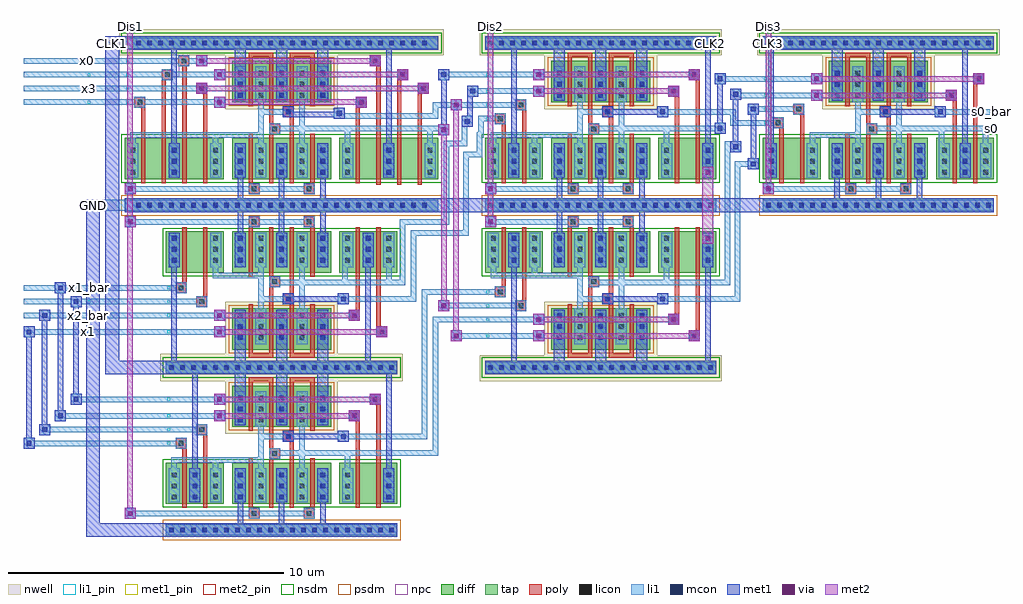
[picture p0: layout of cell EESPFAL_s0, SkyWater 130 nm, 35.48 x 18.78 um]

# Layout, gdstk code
import gdstk
lib = gdstk.Library(unit=1e-6, precision=5e-09)
def R(c, l, rs):  # rectangles x0, y0, x1, y1
    for r in rs: c.add(gdstk.rectangle(r[:2], r[2:], *l))
def A(c, l, x, y, w, h, nx, ny, dx, dy):  # array of equal rectangles
    R(c, l, [(x+i*dx, y+j*dy, x+i*dx+w, y+j*dy+h) for i in range(nx) for j in range(ny)])
def P(c, l, *ps):  # polygons
    for p in ps: c.add(gdstk.Polygon(p, *l))
nwell = (64, 20)
diff = (65, 20)
tap = (65, 44)
poly = (66, 20)
licon = (66, 44)
li1_pin = (67, 16)
li1 = (67, 20)
mcon = (67, 44)
met1_pin = (68, 16)
met1 = (68, 20)
via = (68, 44)
met2_pin = (69, 16)
met2 = (69, 20)
nsdm = (93, 44)
psdm = (94, 20)
npc = (95, 20)

eespfal_nor_v3 = lib.new_cell('EESPFAL_NOR_v3')
R(eespfal_nor_v3, nwell, [(-7.7,5.3,-3.6,7.25), (-10.05,7.25,-1.25,8.2)])
R(eespfal_nor_v3, diff, [(-9.85,2.75,-7.75,4.25), (-7.45,2.75,-3.85,4.25), (-3.55,2.75,-1.45,4.25), (-7.45,5.55,-3.85,7.05)])
R(eespfal_nor_v3, tap, [(-9.85,1.55,-1.45,2.05), (-9.85,7.45,-1.45,7.95)])
R(eespfal_nor_v3, poly, [(-6.85,2.2,-6.45,2.6), (-4.85,2.2,-4.45,2.6), (-9.25,2.6,-9.1,4.6), (-8.5,2.6,-8.35,5.1), (-6.85,2.6,-6.7,4.4), (-6.1,2.6,-5.95,4.4), (-5.35,2.6,-5.2,5), (-4.6,2.6,-4.45,4.4), (-2.95,2.6,-2.8,5.6), (-2.2,2.6,-2.05,6.2), (-6.1,4.375,-5.7,4.775), (-9.5,4.6,-9.1,5), (-6.1,4.775,-5.95,7.2), (-5.6,5,-5.2,5.4), (-8.75,5.1,-8.35,5.5), (-6.85,5.4,-6.7,7.2), (-5.35,5.4,-5.2,7.2), (-4.6,5.4,-4.45,7.2), (-3.2,5.6,-2.8,6), (-2.2,6.2,-1.8,6.6), (-6.85,7.2,-5.95,7.35), (-5.35,7.2,-4.45,7.35)])
A(eespfal_nor_v3, licon, -9.735, 1.715, 0.17, 0.17, 21, 2, 0.4, 5.9)
A(eespfal_nor_v3, licon, -9.635, 2.915, 0.17, 0.17, 1, 3, 0, 0.4)
A(eespfal_nor_v3, licon, -8.135, 2.915, 0.17, 0.17, 1, 3, 0, 0.4)
A(eespfal_nor_v3, licon, -7.235, 2.915, 0.17, 0.17, 5, 3, 0.75, 0.4)
A(eespfal_nor_v3, licon, -3.335, 2.915, 0.17, 0.17, 3, 3, 0.75, 0.4)
A(eespfal_nor_v3, licon, -7.235, 5.715, 0.17, 0.17, 5, 3, 0.75, 0.4)
R(eespfal_nor_v3, licon, [(-6.735,2.315,-6.565,2.485), (-4.735,2.315,-4.565,2.485), (-5.985,4.49,-5.815,4.66), (-9.385,4.715,-9.215,4.885), (-5.485,5.115,-5.315,5.285), (-8.635,5.215,-8.465,5.385), (-3.085,5.715,-2.915,5.885), (-2.085,6.315,-1.915,6.485)])
A(eespfal_nor_v3, li1_pin, -9.8, 4.75, 0.1, 0.1, 1, 3, 0, 0.5)
R(eespfal_nor_v3, li1_pin, [(-6.75,2.3,-6.55,2.5), (-6,4.475,-5.8,4.675), (-9.8,6.35,-9.7,6.45)])
A(eespfal_nor_v3, li1, -7.35, 2.8, 0.4, 1.25, 5, 1, 0.75, 0)
A(eespfal_nor_v3, li1, -3.45, 2.8, 0.4, 1.25, 3, 1, 0.75, 0)
A(eespfal_nor_v3, li1, -8.1, 5.6, 0.4, 0.1, 1, 4, 0, 0.3)
A(eespfal_nor_v3, li1, -7.35, 5.6, 0.4, 1.25, 3, 1, 1.5, 0)
R(eespfal_nor_v3, li1, [(-9.85,1.6,-1.45,2), (-6.85,2.2,-6.45,2.3), (-4.85,2.2,-4.45,2.3), (-9.85,2.3,-4.45,2.5), (-6.85,2.5,-6.45,2.6), (-4.85,2.5,-4.45,2.6), (-9.75,2.8,-9.35,4.05), (-8.25,2.8,-7.85,4.05), (-3.45,4.05,-3.25,4.5), (-1.85,4.05,-1.65,4.5), (-6.1,4.375,-5.7,4.775), (-9.5,4.6,-9.1,4.7), (-9.85,4.7,-9.1,4.9), (-9.5,4.9,-9.1,5), (-5.6,5,-5.2,5.1), (-3.6,5,-3.2,5.1), (-8.75,5.1,-8.35,5.2), (-3.6,5.1,-1.45,5.3), (-9.85,5.2,-8.35,5.4), (-5.6,5.3,-5.2,5.4), (-3.6,5.3,-3.2,5.4), (-8.75,5.4,-8.35,5.5), (-6.6,5.55,-6.2,6.85), (-5.1,5.55,-4.7,6.85), (-3.2,5.6,-2.8,6), (-9.85,5.7,-7.7,5.9), (-2.2,6.2,-1.8,6.6), (-9.85,6.3,-7.7,6.5), (-9.85,7.5,-1.45,7.9)])
P(eespfal_nor_v3, li1, [(-5,4.05),(-5,4.5),(-5.7,4.5),(-5.7,4.7),(-5,4.7),(-5,5.55),(-4.8,5.55),(-4.8,4.7),(-1.45,4.7),(-1.45,4.5),(-4.8,4.5),(-4.8,4.05)],
  [(-8.15,4.05),(-8.15,4.45),(-6.5,4.45),(-6.5,5.55),(-6.3,5.55),(-6.3,5.3),(-5.2,5.3),(-5.2,5.1),(-6.3,5.1),(-6.3,4.05),(-6.5,4.05),(-6.5,4.25),(-7.95,4.25),(-7.95,4.05)])
A(eespfal_nor_v3, mcon, -9.735, 1.715, 0.17, 0.17, 21, 2, 0.4, 5.9)
A(eespfal_nor_v3, mcon, -9.635, 2.915, 0.17, 0.17, 1, 3, 0, 0.4)
A(eespfal_nor_v3, mcon, -7.235, 2.915, 0.17, 0.17, 3, 3, 1.5, 0.4)
A(eespfal_nor_v3, mcon, -2.585, 2.915, 0.17, 0.17, 1, 3, 0, 0.4)
A(eespfal_nor_v3, mcon, -7.235, 5.715, 0.17, 0.17, 3, 3, 1.5, 0.4)
R(eespfal_nor_v3, mcon, [(-5.485,5.115,-5.315,5.285), (-3.485,5.115,-3.315,5.285), (-7.985,5.715,-7.815,5.885), (-3.085,5.715,-2.915,5.885), (-7.985,6.315,-7.815,6.485), (-2.085,6.315,-1.915,6.485)])
R(eespfal_nor_v3, met1_pin, [(-5.75,1.7,-5.55,1.9), (-5.5,5.1,-5.3,5.3), (-5.75,7.6,-5.55,7.8)])
A(eespfal_nor_v3, met1, -7.25, 2.05, 0.2, 0.75, 3, 1, 1.5, 0)
A(eespfal_nor_v3, met1, -7.35, 2.8, 0.4, 1.25, 3, 1, 1.5, 0)
A(eespfal_nor_v3, met1, -7.35, 5.6, 0.4, 1.85, 3, 1, 1.5, 0)
R(eespfal_nor_v3, met1, [(-9.85,1.55,-1.45,2.05), (-9.75,2.8,-9.35,4.05), (-2.7,2.8,-2.3,4.05), (-9.65,4.05,-9.45,7.45), (-2.6,4.05,-2.4,7.45), (-5.6,5,-5.2,5.1), (-3.6,5,-3.2,5.1), (-5.6,5.1,-3.2,5.3), (-5.6,5.3,-5.2,5.4), (-3.6,5.3,-3.2,5.4), (-8.1,5.6,-7.7,6), (-3.2,5.6,-2.8,6), (-8.1,6.2,-7.7,6.6), (-2.2,6.2,-1.8,6.6), (-9.85,7.45,-1.45,7.95)])
R(eespfal_nor_v3, via, [(-7.975,5.725,-7.825,5.875), (-3.075,5.725,-2.925,5.875), (-7.975,6.325,-7.825,6.475), (-2.075,6.325,-1.925,6.475)])
A(eespfal_nor_v3, met2, -8.1, 5.6, 0.4, 0.1, 1, 4, 0, 0.3)
R(eespfal_nor_v3, met2, [(-3.2,5.6,-2.8,5.7), (-8.1,5.7,-2.8,5.9), (-3.2,5.9,-2.8,6), (-2.2,6.2,-1.8,6.3), (-8.1,6.3,-1.8,6.5), (-2.2,6.5,-1.8,6.6)])
R(eespfal_nor_v3, nsdm, [(-9.975,2.625,-1.325,4.375), (-9.975,7.325,-1.325,8.075)])
R(eespfal_nor_v3, psdm, [(-9.975,1.425,-1.325,2.175), (-7.575,5.425,-3.725,7.175)])
R(eespfal_nor_v3, npc, [(-6.835,2.215,-6.465,2.585), (-4.835,2.215,-4.465,2.585), (-6.085,4.39,-5.715,4.76), (-9.485,4.615,-9.115,4.985), (-5.585,5.015,-5.215,5.385), (-8.735,5.115,-8.365,5.485), (-3.185,5.615,-2.815,5.985), (-2.185,6.215,-1.815,6.585)])
eespfal_nor_v3.add(gdstk.Label('OUT', (-5.9,4.575), layer=67, texttype=16))
eespfal_nor_v3.add(gdstk.Label('A', (-9.75,6.4), layer=67, texttype=16))
eespfal_nor_v3.add(gdstk.Label('A_bar', (-9.75,4.8), layer=67, texttype=16))
eespfal_nor_v3.add(gdstk.Label('B', (-9.75,5.8), layer=67, texttype=16))
eespfal_nor_v3.add(gdstk.Label('B_bar', (-9.75,5.3), layer=67, texttype=16))
eespfal_nor_v3.add(gdstk.Label('Dis', (-6.65,2.4), layer=67, texttype=16))
eespfal_nor_v3.add(gdstk.Label('OUT_bar', (-5.4,5.2), layer=68, texttype=16))
eespfal_nor_v3.add(gdstk.Label('GND!', (-5.65,1.8), layer=68, texttype=16))
eespfal_nor_v3.add(gdstk.Label('CLK', (-5.65,7.7), layer=68, texttype=16))

eespfal_nand_v3 = lib.new_cell('EESPFAL_NAND_v3')
R(eespfal_nand_v3, nwell, [(-19.6,4.15,-15.5,6.1), (-21.95,6.1,-13.15,7.05)])
R(eespfal_nand_v3, diff, [(-21.75,1.6,-19.65,3.1), (-19.35,1.6,-15.75,3.1), (-15.45,1.6,-13.35,3.1), (-19.35,4.4,-15.75,5.9)])
R(eespfal_nand_v3, tap, [(-21.75,0.4,-13.35,0.9), (-21.75,6.3,-13.35,6.8)])
R(eespfal_nand_v3, poly, [(-18.75,1.05,-18.35,1.45), (-16.75,1.05,-16.35,1.45), (-21.15,1.45,-21,3.6), (-20.4,1.45,-20.25,4.1), (-18.75,1.45,-18.6,3.25), (-18,1.45,-17.85,3.25), (-17.25,1.45,-17.1,3.85), (-16.5,1.45,-16.35,3.25), (-14.85,1.45,-14.7,4.6), (-14.1,1.45,-13.95,5.2), (-18,3.225,-17.6,3.625), (-21.4,3.6,-21,4), (-18,3.625,-17.85,6.05), (-17.5,3.85,-17.1,4.25), (-20.65,4.1,-20.25,4.5), (-18.75,4.25,-18.6,6.05), (-17.25,4.25,-17.1,6.05), (-16.5,4.25,-16.35,6.05), (-15.1,4.6,-14.7,5), (-14.35,5.2,-13.95,5.6), (-18.75,6.05,-17.85,6.2), (-17.25,6.05,-16.35,6.2)])
A(eespfal_nand_v3, licon, -21.635, 0.565, 0.17, 0.17, 21, 2, 0.4, 5.9)
A(eespfal_nand_v3, licon, -21.535, 1.765, 0.17, 0.17, 3, 3, 0.75, 0.4)
A(eespfal_nand_v3, licon, -19.135, 1.765, 0.17, 0.17, 5, 3, 0.75, 0.4)
A(eespfal_nand_v3, licon, -15.235, 1.765, 0.17, 0.17, 1, 3, 0, 0.4)
A(eespfal_nand_v3, licon, -13.735, 1.765, 0.17, 0.17, 1, 3, 0, 0.4)
A(eespfal_nand_v3, licon, -19.135, 4.565, 0.17, 0.17, 5, 3, 0.75, 0.4)
R(eespfal_nand_v3, licon, [(-18.635,1.165,-18.465,1.335), (-16.635,1.165,-16.465,1.335), (-17.885,3.34,-17.715,3.51), (-21.285,3.715,-21.115,3.885), (-17.385,3.965,-17.215,4.135), (-20.535,4.215,-20.365,4.385), (-14.985,4.715,-14.815,4.885), (-14.235,5.315,-14.065,5.485)])
A(eespfal_nand_v3, li1_pin, -21.7, 3.75, 0.1, 0.1, 1, 3, 0, 0.5)
R(eespfal_nand_v3, li1_pin, [(-18.65,1.15,-18.45,1.35), (-17.9,3.325,-17.7,3.525), (-21.7,5.35,-21.6,5.45)])
A(eespfal_nand_v3, li1, -21.65, 1.65, 0.4, 1.25, 3, 1, 0.75, 0)
A(eespfal_nand_v3, li1, -19.25, 1.65, 0.4, 1.25, 5, 1, 0.75, 0)
A(eespfal_nand_v3, li1, -19.25, 4.45, 0.4, 1.25, 3, 1, 1.5, 0)
A(eespfal_nand_v3, li1, -20, 4.6, 0.4, 0.1, 1, 4, 0, 0.3)
R(eespfal_nand_v3, li1, [(-21.75,0.45,-13.35,0.85), (-18.75,1.05,-18.35,1.15), (-16.75,1.05,-16.35,1.15), (-21.75,1.15,-16.35,1.35), (-18.75,1.35,-18.35,1.45), (-16.75,1.35,-16.35,1.45), (-15.35,1.65,-14.95,2.9), (-13.85,1.65,-13.45,2.9), (-18,3.225,-17.6,3.625), (-21.4,3.6,-21,3.7), (-21.75,3.7,-21,3.9), (-17.5,3.85,-17.1,3.95), (-15.5,3.85,-15.1,3.95), (-21.4,3.9,-21,4), (-15.5,3.95,-13.35,4.15), (-20.65,4.1,-20.25,4.2), (-17.5,4.15,-17.1,4.25), (-15.5,4.15,-15.1,4.25), (-21.75,4.2,-20.25,4.4), (-20.65,4.4,-20.25,4.5), (-18.5,4.4,-18.1,5.7), (-17,4.4,-16.6,5.7), (-15.1,4.6,-14.7,5), (-21.75,4.7,-19.6,4.9), (-14.35,5.2,-13.95,5.6), (-21.75,5.3,-19.6,5.5), (-21.75,6.35,-13.35,6.75)])
P(eespfal_nand_v3, li1, [(-16.9,2.9),(-16.9,3.35),(-17.6,3.35),(-17.6,3.55),(-16.9,3.55),(-16.9,4.4),(-16.7,4.4),(-16.7,3.55),(-13.35,3.55),(-13.35,3.35),(-15.05,3.35),(-15.05,2.9),(-15.25,2.9),(-15.25,3.35),(-16.7,3.35),(-16.7,2.9)],
  [(-21.55,2.9),(-21.55,3.3),(-18.4,3.3),(-18.4,4.4),(-18.2,4.4),(-18.2,4.15),(-17.1,4.15),(-17.1,3.95),(-18.2,3.95),(-18.2,2.9),(-18.395,2.9),(-18.395,3.1),(-19.85,3.1),(-19.85,2.9),(-20.05,2.9),(-20.05,3.1),(-21.35,3.1),(-21.35,2.9)])
A(eespfal_nand_v3, mcon, -21.635, 0.565, 0.17, 0.17, 21, 2, 0.4, 5.9)
A(eespfal_nand_v3, mcon, -20.785, 1.765, 0.17, 0.17, 1, 3, 0, 0.4)
A(eespfal_nand_v3, mcon, -19.135, 1.765, 0.17, 0.17, 3, 3, 1.5, 0.4)
A(eespfal_nand_v3, mcon, -13.735, 1.765, 0.17, 0.17, 1, 3, 0, 0.4)
A(eespfal_nand_v3, mcon, -19.135, 4.565, 0.17, 0.17, 3, 3, 1.5, 0.4)
R(eespfal_nand_v3, mcon, [(-17.385,3.965,-17.215,4.135), (-15.385,3.965,-15.215,4.135), (-19.885,4.715,-19.715,4.885), (-14.985,4.715,-14.815,4.885), (-19.885,5.315,-19.715,5.485), (-14.235,5.315,-14.065,5.485)])
R(eespfal_nand_v3, met1_pin, [(-17.65,0.55,-17.45,0.75), (-17.4,3.95,-17.2,4.15), (-17.65,6.45,-17.45,6.65)])
A(eespfal_nand_v3, met1, -19.15, 0.9, 0.2, 0.75, 3, 1, 1.5, 0)
A(eespfal_nand_v3, met1, -19.25, 1.65, 0.4, 1.25, 3, 1, 1.5, 0)
A(eespfal_nand_v3, met1, -19.25, 4.45, 0.4, 1.85, 3, 1, 1.5, 0)
R(eespfal_nand_v3, met1, [(-21.75,0.4,-13.35,0.9), (-20.9,1.65,-20.5,2.9), (-13.85,1.65,-13.45,2.9), (-20.8,2.9,-20.6,6.3), (-13.75,2.9,-13.55,6.3), (-17.5,3.85,-17.1,3.95), (-15.5,3.85,-15.1,3.95), (-17.5,3.95,-15.1,4.15), (-17.5,4.15,-17.1,4.25), (-15.5,4.15,-15.1,4.25), (-20,4.6,-19.6,5), (-15.1,4.6,-14.7,5), (-20,5.2,-19.6,5.6), (-14.35,5.2,-13.95,5.6), (-21.75,6.3,-13.35,6.8)])
R(eespfal_nand_v3, via, [(-19.875,4.725,-19.725,4.875), (-14.975,4.725,-14.825,4.875), (-19.875,5.325,-19.725,5.475), (-14.225,5.325,-14.075,5.475)])
A(eespfal_nand_v3, met2, -20, 4.6, 0.4, 0.1, 1, 4, 0, 0.3)
R(eespfal_nand_v3, met2, [(-15.1,4.6,-14.7,4.7), (-20,4.7,-14.7,4.9), (-15.1,4.9,-14.7,5), (-14.35,5.2,-13.95,5.3), (-20,5.3,-13.95,5.5), (-14.35,5.5,-13.95,5.6)])
R(eespfal_nand_v3, nsdm, [(-21.875,1.475,-13.225,3.225), (-21.875,6.175,-13.225,6.925)])
R(eespfal_nand_v3, psdm, [(-21.875,0.275,-13.225,1.025), (-19.475,4.275,-15.625,6.025)])
R(eespfal_nand_v3, npc, [(-18.735,1.065,-18.365,1.435), (-16.735,1.065,-16.365,1.435), (-17.985,3.24,-17.615,3.61), (-21.385,3.615,-21.015,3.985), (-17.485,3.865,-17.115,4.235), (-20.635,4.115,-20.265,4.485), (-15.085,4.615,-14.715,4.985), (-14.335,5.215,-13.965,5.585)])
eespfal_nand_v3.add(gdstk.Label('OUT', (-17.8,3.425), layer=67, texttype=16))
eespfal_nand_v3.add(gdstk.Label('A', (-21.65,5.4), layer=67, texttype=16))
eespfal_nand_v3.add(gdstk.Label('A_bar', (-21.65,4.3), layer=67, texttype=16))
eespfal_nand_v3.add(gdstk.Label('B', (-21.65,4.8), layer=67, texttype=16))
eespfal_nand_v3.add(gdstk.Label('B_bar', (-21.65,3.8), layer=67, texttype=16))
eespfal_nand_v3.add(gdstk.Label('Dis', (-18.55,1.25), layer=67, texttype=16))
eespfal_nand_v3.add(gdstk.Label('OUT_bar', (-17.3,4.05), layer=68, texttype=16))
eespfal_nand_v3.add(gdstk.Label('GND!', (-17.55,0.65), layer=68, texttype=16))
eespfal_nand_v3.add(gdstk.Label('CLK', (-17.55,6.55), layer=68, texttype=16))

eespfal_xor_v3 = lib.new_cell('EESPFAL_XOR_v3')
R(eespfal_xor_v3, nwell, [(-2.8,4.6,1.3,6.55), (-6.65,6.55,5.15,7.5)])
A(eespfal_xor_v3, diff, -6.45, 2.05, 3.6, 1.5, 3, 1, 3.9, 0)
R(eespfal_xor_v3, diff, [(-2.55,4.85,1.05,6.35)])
R(eespfal_xor_v3, tap, [(-6.45,0.85,4.95,1.35), (-6.45,6.75,4.95,7.25)])
R(eespfal_xor_v3, poly, [(-1.95,1.5,-1.55,1.9), (0.05,1.5,0.45,1.9), (2.7,1.85,2.85,6.15), (3.45,1.85,3.6,5.65), (4.2,1.85,4.35,5.15), (-5.85,1.9,-5.7,4.65), (-5.1,1.9,-4.95,5.65), (-4.35,1.9,-4.2,6.15), (-3.6,1.9,-3.45,5.15), (-1.95,1.9,-1.8,3.7), (-1.2,1.9,-1.05,3.7), (-0.45,1.9,-0.3,4.3), (0.3,1.9,0.45,3.7), (1.95,1.9,2.1,4.65), (-1.2,3.675,-0.8,4.075), (-1.2,4.075,-1.05,6.5), (-0.7,4.3,-0.3,4.7), (-6.1,4.65,-5.7,5.05), (1.95,4.65,2.35,5.05), (-1.95,4.7,-1.8,6.5), (-0.45,4.7,-0.3,6.5), (0.3,4.7,0.45,6.5), (-3.85,5.15,-3.45,5.55), (4.2,5.15,4.6,5.55), (-5.1,5.65,-4.7,6.05), (3.45,5.65,3.85,6.05), (-4.5,6.15,-4.1,6.55), (2.45,6.15,2.85,6.55), (-1.95,6.5,-1.05,6.65), (-0.45,6.5,0.45,6.65)])
A(eespfal_xor_v3, licon, -6.035, 1.015, 0.17, 0.17, 27, 2, 0.4, 5.9)
A(eespfal_xor_v3, licon, -6.235, 2.215, 0.17, 0.17, 3, 3, 1.5, 0.4)
A(eespfal_xor_v3, licon, -2.335, 2.215, 0.17, 0.17, 5, 3, 0.75, 0.4)
A(eespfal_xor_v3, licon, 1.565, 2.215, 0.17, 0.17, 3, 3, 1.5, 0.4)
A(eespfal_xor_v3, licon, -2.335, 5.015, 0.17, 0.17, 5, 3, 0.75, 0.4)
R(eespfal_xor_v3, licon, [(-1.835,1.615,-1.665,1.785), (0.165,1.615,0.335,1.785), (-1.085,3.79,-0.915,3.96), (-0.585,4.415,-0.415,4.585), (-5.985,4.765,-5.815,4.935), (2.065,4.765,2.235,4.935), (-3.735,5.265,-3.565,5.435), (4.315,5.265,4.485,5.435), (-4.985,5.765,-4.815,5.935), (3.565,5.765,3.735,5.935), (-4.385,6.265,-4.215,6.435), (2.565,6.265,2.735,6.435)])
A(eespfal_xor_v3, li1_pin, -6.4, 4.8, 0.1, 0.1, 1, 4, 0, 0.5)
R(eespfal_xor_v3, li1_pin, [(-1.85,1.6,-1.65,1.8), (-1.1,3.775,-0.9,3.975)])
A(eespfal_xor_v3, li1, -6.35, 2.1, 0.4, 1.25, 3, 1, 1.5, 0)
A(eespfal_xor_v3, li1, -2.45, 2.1, 0.4, 1.25, 5, 1, 0.75, 0)
A(eespfal_xor_v3, li1, 1.45, 2.1, 0.4, 1.25, 3, 1, 1.5, 0)
A(eespfal_xor_v3, li1, -2.45, 4.9, 0.4, 1.25, 3, 1, 1.5, 0)
R(eespfal_xor_v3, li1, [(-6.45,0.9,4.95,1.3), (-1.95,1.5,-1.55,1.6), (0.05,1.5,0.45,1.6), (-6.45,1.6,0.45,1.8), (-1.95,1.8,-1.55,1.9), (0.05,1.8,0.45,1.9), (-6.25,3.35,-6.05,3.55), (-3.25,3.35,-3.05,3.55), (1.55,3.35,1.75,3.8), (4.55,3.35,4.75,3.8), (-6.25,3.55,-1.4,3.75), (-0.1,3.55,0.1,3.8), (-1.2,3.675,-0.8,4.075), (-1.6,3.75,-1.4,4.4), (-0.8,3.8,4.95,4), (-0.1,4,0.1,4.85), (1.15,4.25,4.95,4.45), (-0.7,4.3,-0.3,4.4), (-1.6,4.4,-0.3,4.6), (1.15,4.45,1.55,4.65), (-1.6,4.6,-1.4,4.85), (-0.7,4.6,-0.3,4.7), (-6.1,4.65,-5.7,4.75), (-3.2,4.65,-2.8,4.75), (1.95,4.65,2.35,5.05), (-6.45,4.75,-2.8,4.95), (-1.7,4.85,-1.3,6.15), (-0.2,4.85,0.2,6.15), (-6.1,4.95,-5.7,5.05), (-3.2,4.95,-2.8,5.05), (-3.85,5.15,-3.45,5.25), (4.2,5.15,4.6,5.55), (-6.45,5.25,-3.45,5.45), (-3.85,5.45,-3.45,5.55), (-5.1,5.65,-4.7,5.75), (-3.2,5.65,-2.8,5.75), (3.45,5.65,3.85,6.05), (-6.45,5.75,-2.8,5.95), (-5.1,5.95,-4.7,6.05), (-3.2,5.95,-2.8,6.05), (-4.5,6.15,-4.1,6.25), (-3.85,6.15,-3.45,6.25), (2.45,6.15,2.85,6.55), (-6.45,6.25,-3.45,6.45), (-4.5,6.45,-4.1,6.55), (-3.85,6.45,-3.45,6.55), (-6.45,6.8,4.95,7.2)])
A(eespfal_xor_v3, mcon, -6.035, 1.015, 0.17, 0.17, 27, 2, 0.4, 5.9)
A(eespfal_xor_v3, mcon, -4.735, 2.215, 0.17, 0.17, 1, 3, 0, 0.4)
A(eespfal_xor_v3, mcon, -2.335, 2.215, 0.17, 0.17, 3, 3, 1.5, 0.4)
A(eespfal_xor_v3, mcon, 3.065, 2.215, 0.17, 0.17, 1, 3, 0, 0.4)
A(eespfal_xor_v3, mcon, -2.335, 5.015, 0.17, 0.17, 3, 3, 1.5, 0.4)
R(eespfal_xor_v3, mcon, [(1.265,4.365,1.435,4.535), (-0.585,4.415,-0.415,4.585), (-3.085,4.765,-2.915,4.935), (2.065,4.765,2.235,4.935), (-3.735,5.265,-3.565,5.435), (4.315,5.265,4.485,5.435), (-3.085,5.765,-2.915,5.935), (3.565,5.765,3.735,5.935), (-3.735,6.265,-3.565,6.435), (2.565,6.265,2.735,6.435)])
R(eespfal_xor_v3, met1_pin, [(-0.85,1,-0.65,1.2), (-0.6,4.4,-0.4,4.6), (-0.85,6.9,-0.65,7.1)])
A(eespfal_xor_v3, met1, -2.35, 1.35, 0.2, 0.75, 3, 1, 1.5, 0)
A(eespfal_xor_v3, met1, -2.45, 2.1, 0.4, 1.25, 3, 1, 1.5, 0)
A(eespfal_xor_v3, met1, -2.45, 4.9, 0.4, 1.85, 3, 1, 1.5, 0)
R(eespfal_xor_v3, met1, [(-6.45,0.85,4.95,1.35), (-4.85,2.1,-4.45,3.35), (2.95,2.1,3.35,3.35), (-4.75,3.35,-4.55,6.75), (3.05,3.35,3.25,6.75), (1.15,4.25,1.55,4.3), (-0.7,4.3,1.55,4.5), (-0.7,4.5,-0.3,4.7), (1.15,4.5,1.55,4.65), (-3.2,4.65,-2.8,5.05), (1.95,4.65,2.35,5.05), (-3.85,5.15,-3.45,5.55), (4.2,5.15,4.6,5.55), (-3.2,5.65,-2.8,6.05), (3.45,5.65,3.85,6.05), (-3.85,6.15,-3.45,6.55), (2.45,6.15,2.85,6.55), (-6.45,6.75,4.95,7.25)])
R(eespfal_xor_v3, via, [(-3.075,4.775,-2.925,4.925), (2.075,4.775,2.225,4.925), (-3.725,5.275,-3.575,5.425), (4.325,5.275,4.475,5.425), (-3.075,5.775,-2.925,5.925), (3.575,5.775,3.725,5.925), (-3.725,6.275,-3.575,6.425), (2.575,6.275,2.725,6.425)])
R(eespfal_xor_v3, met2, [(-3.2,4.65,-2.8,4.75), (1.95,4.65,2.35,4.75), (-3.2,4.75,2.35,4.95), (-3.2,4.95,-2.8,5.05), (1.95,4.95,2.35,5.05), (-3.85,5.15,-3.45,5.25), (4.2,5.15,4.6,5.25), (-3.85,5.25,4.6,5.45), (-3.85,5.45,-3.45,5.55), (4.2,5.45,4.6,5.55), (-3.2,5.65,-2.8,5.75), (3.45,5.65,3.85,5.75), (-3.2,5.75,3.85,5.95), (-3.2,5.95,-2.8,6.05), (3.45,5.95,3.85,6.05), (-3.85,6.15,-3.45,6.25), (2.45,6.15,2.85,6.25), (-3.85,6.25,2.85,6.45), (-3.85,6.45,-3.45,6.55), (2.45,6.45,2.85,6.55)])
R(eespfal_xor_v3, nsdm, [(-6.575,1.925,5.075,3.675), (-6.575,6.625,5.075,7.375)])
R(eespfal_xor_v3, psdm, [(-6.575,0.725,5.075,1.475), (-2.675,4.725,1.175,6.475)])
R(eespfal_xor_v3, npc, [(-1.935,1.515,-1.565,1.885), (0.065,1.515,0.435,1.885), (-1.185,3.69,-0.815,4.06), (-0.685,4.315,-0.315,4.685), (-6.085,4.665,-5.715,5.035), (1.965,4.665,2.335,5.035), (-3.835,5.165,-3.465,5.535), (4.215,5.165,4.585,5.535), (-5.085,5.665,-4.715,5.765), (3.465,5.665,3.835,6.035), (-5.085,5.765,-4.465,6.035), (-4.735,6.035,-4.465,6.165), (-4.735,6.165,-4.115,6.435), (2.465,6.165,2.835,6.535), (-4.485,6.435,-4.115,6.535)])
eespfal_xor_v3.add(gdstk.FlexPath([(-1.5,3.35),(-1.5,3.55)], 0.2, ends="flush", simple_path=True, layer=67, datatype=20))  # li1
eespfal_xor_v3.add(gdstk.FlexPath([(0,3.35),(0,3.55)], 0.2, ends="flush", simple_path=True, layer=67, datatype=20))  # li1
eespfal_xor_v3.add(gdstk.Label('OUT', (-1,3.875), layer=67, texttype=16))
eespfal_xor_v3.add(gdstk.Label('A', (-6.35,6.35), layer=67, texttype=16))
eespfal_xor_v3.add(gdstk.Label('A_bar', (-6.35,5.85), layer=67, texttype=16))
eespfal_xor_v3.add(gdstk.Label('B', (-6.35,5.35), layer=67, texttype=16))
eespfal_xor_v3.add(gdstk.Label('B_bar', (-6.35,4.85), layer=67, texttype=16))
eespfal_xor_v3.add(gdstk.Label('Dis', (-1.75,1.7), layer=67, texttype=16))
eespfal_xor_v3.add(gdstk.Label('OUT_bar', (-0.5,4.5), layer=68, texttype=16))
eespfal_xor_v3.add(gdstk.Label('GND!', (-0.75,1.1), layer=68, texttype=16))
eespfal_xor_v3.add(gdstk.Label('CLK', (-0.75,7), layer=68, texttype=16))

li_mcon_m1 = lib.new_cell('Li_mcon_M1')
R(li_mcon_m1, li1, [(-0.1,-0.1,0.3,0.3)])
R(li_mcon_m1, mcon, [(0.015,0.015,0.185,0.185)])
R(li_mcon_m1, met1, [(-0.1,-0.1,0.3,0.3)])

eespfal_s0 = lib.new_cell('EESPFAL_s0')
A(eespfal_s0, li1_pin, 0.1, 17.1, 0.1, 0.1, 1, 4, 0, 0.5)
R(eespfal_s0, li1_pin, [(0.1,8.75,0.2,8.85), (0.1,9.35,0.2,9.45), (0.1,9.845,0.2,9.945), (0.1,10.35,0.2,10.45), (32.9,16.15,33,16.25), (32.895,16.745,33.005,16.86)])
A(eespfal_s0, li1, 0.05, 4.65, 2.9, 0.2, 1, 3, 0, 0.5)
A(eespfal_s0, li1, 0.05, 9.3, 2.9, 0.2, 1, 3, 0, 0.5)
A(eespfal_s0, li1, 0.05, 17.05, 1.4, 0.2, 1, 4, 0, 0.5)
R(eespfal_s0, li1, [(1.45,2,1.85,2.1), (1.45,2.1,2.95,2.3), (1.45,2.3,1.85,2.4), (11.35,4.3,12.85,4.5), (12.65,4.5,12.85,9.15), (11.35,4.9,12.45,5.1), (12.25,5.1,12.45,10.15), (0.05,6.25,2.95,6.45), (13.3,8.45,13.7,8.55), (13.3,8.55,14.55,8.75), (0.05,8.7,2.95,8.9), (13.3,8.75,13.7,8.85), (12.65,9.15,14.55,9.35), (12.85,9.55,13.25,9.65), (12.85,9.65,14.55,9.85), (12.85,9.85,13.25,9.95), (11.35,9.9,12.05,10.1), (11.85,10.1,12.05,12.3), (12.25,10.15,14.55,10.35), (11.35,10.5,11.65,10.7), (11.45,10.7,11.65,12.7), (11.85,12.3,13.95,12.5), (13.75,12.5,13.95,15.15), (1.45,12.6,1.85,12.7), (14.55,12.6,14.95,13), (1.45,12.7,2.95,12.9), (11.45,12.7,13.25,12.9), (1.45,12.9,1.85,13), (13.05,12.9,13.25,15.55), (0.05,13.2,1.45,13.6), (1.45,13.8,1.85,14.2), (14.55,13.8,14.95,14.2), (24.65,13.8,25.05,14.2), (24.1,14.705,24.5,15.105), (13.75,15.15,14.45,15.35), (23.46,15.33,23.86,15.73), (14.25,15.35,14.45,15.85), (13.05,15.55,13.9,15.75), (13.7,15.75,13.9,16.25), (14.25,15.85,14.5,16.05), (12.85,15.95,13.25,16.35), (22.89,16,23.29,16.4), (14.3,16.05,14.5,16.45), (13.7,16.25,14.1,16.65), (14.3,16.45,14.55,16.65), (12.65,16.55,12.85,16.95), (24.1,16.7,24.5,17.1), (13.3,16.85,13.7,16.95), (12.65,16.95,14.55,17.15), (13.3,17.15,13.7,17.25), (23.46,17.235,23.86,17.635), (13.9,17.35,14.3,17.45), (13.9,17.45,14.55,17.65), (13.9,17.65,14.3,17.75), (22.89,17.8,23.29,18.2), (12.85,17.95,13.25,18.05), (12.85,18.05,14.55,18.25), (12.85,18.25,13.25,18.35)])
P(eespfal_s0, li1, [(22.95,10.5),(22.95,10.7),(23.26,10.7),(23.26,15.73),(23.46,15.73),(23.46,10.5)],
  [(22.95,9.9),(22.95,10.1),(23.63,10.1),(23.63,15.005),(24.1,15.005),(24.1,14.805),(23.83,14.805),(23.83,9.9)])
R(eespfal_s0, mcon, [(1.565,2.115,1.735,2.285), (13.415,8.565,13.585,8.735), (12.965,9.665,13.135,9.835), (1.565,12.715,1.735,12.885), (14.665,12.715,14.835,12.885), (0.215,13.315,0.385,13.485), (1.565,13.915,1.735,14.085), (14.665,13.915,14.835,14.085), (24.765,13.915,24.935,14.085), (24.215,14.82,24.385,14.99), (23.575,15.445,23.745,15.615), (12.965,16.065,13.135,16.235), (23.005,16.115,23.175,16.285), (13.815,16.365,13.985,16.535), (24.215,16.815,24.385,16.985), (13.415,16.965,13.585,17.135), (23.575,17.35,23.745,17.52), (14.015,17.465,14.185,17.635), (23.005,17.915,23.175,18.085), (12.965,18.065,13.135,18.235)])
R(eespfal_s0, met1_pin, [(0.2,13.3,0.4,13.5), (0.9,19.2,1.1,19.4), (22.65,19.2,22.85,19.4), (24.75,19.2,24.95,19.4)])
R(eespfal_s0, met1, [(0.05,1.35,2.95,1.85), (0.05,1.85,0.55,13.6), (1.45,2,1.85,2.4), (0.75,7.25,2.95,7.75), (0.75,7.75,1.25,19.05), (13.3,8.45,13.7,8.85), (12.85,9.55,13.25,9.95), (1.45,12.6,1.85,13), (14.55,12.6,14.95,13), (12.85,13.15,14.55,13.65), (22.95,13.15,24.65,13.65), (1.45,13.8,1.85,14.2), (14.55,13.8,14.95,14.2), (24.65,13.8,25.05,14.2), (24.1,14.705,24.5,15.105), (23.46,15.33,23.86,15.73), (12.85,15.95,13.25,16.35), (22.89,16,23.29,16.4), (13.7,16.25,14.1,16.65), (12.95,16.35,13.15,17.95), (13.9,16.65,14.1,17.35), (24.1,16.7,24.5,17.1), (13.3,16.85,13.7,17.25), (23.46,17.235,23.86,17.635), (13.9,17.35,14.3,17.75), (22.89,17.8,23.29,18.2), (12.85,17.95,13.25,18.35), (0.75,19.05,1.45,19.55)])
R(eespfal_s0, via, [(1.575,2.125,1.725,2.275), (13.425,8.575,13.575,8.725), (12.975,9.675,13.125,9.825), (22.575,12.125,22.725,12.275), (1.575,12.725,1.725,12.875), (14.675,12.725,14.825,12.875), (1.575,13.925,1.725,14.075), (14.675,13.925,14.825,14.075), (24.775,13.925,24.925,14.075), (22.575,14.525,22.725,14.675), (12.975,16.075,13.125,16.225), (13.425,16.975,13.575,17.125)])
R(eespfal_s0, met2_pin, [(24.8,19.86,24.905,19.965), (14.7,19.865,14.8,19.97), (1.605,19.87,1.705,19.965)])
R(eespfal_s0, met2, [(1.45,2,1.85,2.4), (1.55,2.4,1.75,12.6), (13.3,8.45,13.7,8.85), (13.4,8.85,13.6,16.85), (12.85,9.55,13.25,9.95), (12.95,9.95,13.15,15.95), (22.45,12,22.85,12.4), (1.45,12.6,1.85,13), (14.55,12.6,14.95,13), (1.55,13,1.75,13.8), (14.65,13,14.85,13.8), (1.45,13.8,1.85,14.2), (14.55,13.8,14.95,14.2), (24.65,13.8,25.05,14.2), (1.55,14.2,1.75,20), (14.65,14.2,14.85,20), (22.45,14.4,22.85,14.8), (12.85,15.95,13.25,16.35), (13.3,16.85,13.7,17.25)])
eespfal_s0.add(gdstk.FlexPath([(0.05,6.35),(-0.12,6.35)], 0.2, ends="flush", simple_path=True, layer=67, datatype=20))  # li1
eespfal_s0.add(gdstk.FlexPath([(0.05,5.75),(-0.69,5.75)], 0.2, ends="flush", simple_path=True, layer=67, datatype=20))  # li1
eespfal_s0.add(gdstk.FlexPath([(0.05,5.25),(-1.26,5.25)], 0.2, ends="flush", simple_path=True, layer=67, datatype=20))  # li1
eespfal_s0.add(gdstk.FlexPath([(0.05,4.75),(-1.83,4.75)], 0.2, ends="flush", simple_path=True, layer=67, datatype=20))  # li1
eespfal_s0.add(gdstk.FlexPath([(0.05,8.8),(-1.835,8.8)], 0.2, ends="flush", simple_path=True, layer=67, datatype=20))  # li1
eespfal_s0.add(gdstk.FlexPath([(0.05,9.4),(-1.26,9.4)], 0.2, ends="flush", simple_path=True, layer=67, datatype=20))  # li1
eespfal_s0.add(gdstk.FlexPath([(0.05,10.4),(-0.69,10.4)], 0.2, ends="flush", simple_path=True, layer=67, datatype=20))  # li1
eespfal_s0.add(gdstk.FlexPath([(0.05,9.9),(-0.12,9.9)], 0.2, ends="flush", simple_path=True, layer=67, datatype=20))  # li1
eespfal_s0.add(gdstk.FlexPath([(-1.655,9.4),(-2.23,9.4)], 0.2, ends="flush", simple_path=True, layer=67, datatype=20))  # li1
eespfal_s0.add(gdstk.FlexPath([(-0.52,9.9),(-2.23,9.9)], 0.2, ends="flush", simple_path=True, layer=67, datatype=20))  # li1
eespfal_s0.add(gdstk.FlexPath([(-1.09,10.4),(-2.23,10.4)], 0.2, ends="flush", simple_path=True, layer=67, datatype=20))  # li1
eespfal_s0.add(gdstk.FlexPath([(0.05,18.65),(-2.23,18.65)], 0.2, ends="flush", simple_path=True, layer=67, datatype=20))  # li1
eespfal_s0.add(gdstk.FlexPath([(0.05,18.15),(-2.225,18.15)], 0.2, ends="flush", simple_path=True, layer=67, datatype=20))  # li1
eespfal_s0.add(gdstk.FlexPath([(0.05,17.65),(-2.23,17.65)], 0.2, ends="flush", simple_path=True, layer=67, datatype=20))  # li1
eespfal_s0.add(gdstk.FlexPath([(0.05,17.15),(-2.225,17.15)], 0.2, ends="flush", simple_path=True, layer=67, datatype=20))  # li1
eespfal_s0.add(gdstk.FlexPath([(22.95,16.8),(23.46,16.8)], 0.2, ends="flush", simple_path=True, layer=67, datatype=20))  # li1
eespfal_s0.add(gdstk.FlexPath([(24.665,16.4),(23.46,16.4)], 0.2, ends="flush", simple_path=True, layer=67, datatype=20))  # li1
eespfal_s0.add(gdstk.FlexPath([(23.56,16.5),(23.56,16.9)], 0.2, ends="flush", simple_path=True, layer=67, datatype=20))  # li1
eespfal_s0.add(gdstk.FlexPath([(24.65,18),(23.29,18)], 0.2, ends="flush", simple_path=True, layer=67, datatype=20))  # li1
eespfal_s0.add(gdstk.FlexPath([(24.65,16.9),(24.5,16.9)], 0.2, ends="flush", simple_path=True, layer=67, datatype=20))  # li1
eespfal_s0.add(gdstk.FlexPath([(24.65,17.4),(23.86,17.4)], 0.2, ends="flush", simple_path=True, layer=67, datatype=20))  # li1
eespfal_s0.add(gdstk.FlexPath([(-2.03,8.6),(-2.03,4.95)], 0.2, ends="flush", simple_path=True, layer=68, datatype=20))  # met1
eespfal_s0.add(gdstk.FlexPath([(-1.46,9.2),(-1.46,5.45)], 0.2, ends="flush", simple_path=True, layer=68, datatype=20))  # met1
eespfal_s0.add(gdstk.FlexPath([(-0.89,10.205),(-0.89,5.95)], 0.2, ends="flush", simple_path=True, layer=68, datatype=20))  # met1
eespfal_s0.add(gdstk.FlexPath([(-0.32,6.55),(-0.32,9.7)], 0.2, ends="flush", simple_path=True, layer=68, datatype=20))  # met1
eespfal_s0.add(gdstk.FlexPath([(23.09,17.8),(23.09,16.3)], 0.2, ends="flush", simple_path=True, layer=68, datatype=20))  # met1
eespfal_s0.add(gdstk.FlexPath([(23.655,17.24),(23.655,15.73)], 0.2, ends="flush", simple_path=True, layer=68, datatype=20))  # met1
eespfal_s0.add(gdstk.FlexPath([(24.3,16.7),(24.3,15.105)], 0.2, ends="flush", simple_path=True, layer=68, datatype=20))  # met1
eespfal_s0.add(gdstk.FlexPath([(22.65,14.4),(22.65,12.4)], 0.4, ends="flush", simple_path=True, layer=69, datatype=20))  # met2
eespfal_s0.add(gdstk.FlexPath([(24.85,14.2),(24.85,20)], 0.2, ends="flush", simple_path=True, layer=69, datatype=20))  # met2
eespfal_s0.add(gdstk.Reference(eespfal_nor_v3, (12.8,15.2), x_reflection=True))
eespfal_s0.add(gdstk.Reference(eespfal_nand_v3, (36.3,14.05), x_reflection=True))
eespfal_s0.add(gdstk.Reference(eespfal_xor_v3, (7.9,12.3)))
eespfal_s0.add(gdstk.Reference(eespfal_nand_v3, (24.7,0.95)))
eespfal_s0.add(gdstk.Reference(eespfal_nand_v3, (36.3,12.75)))
eespfal_s0.add(gdstk.Reference(eespfal_nor_v3, (34.5,11.6)))
eespfal_s0.add(gdstk.Reference(li_mcon_m1, (-0.42,6.45), x_reflection=True))
eespfal_s0.add(gdstk.Reference(li_mcon_m1, (-0.99,5.85), x_reflection=True))
eespfal_s0.add(gdstk.Reference(li_mcon_m1, (-1.56,5.35), x_reflection=True))
eespfal_s0.add(gdstk.Reference(li_mcon_m1, (-2.13,4.85), x_reflection=True))
eespfal_s0.add(gdstk.Reference(li_mcon_m1, (-2.13,8.7)))
eespfal_s0.add(gdstk.Reference(li_mcon_m1, (-1.56,9.3)))
eespfal_s0.add(gdstk.Reference(li_mcon_m1, (-0.99,10.3)))
eespfal_s0.add(gdstk.Reference(li_mcon_m1, (-0.42,9.8)))
eespfal_s0.add(gdstk.Label('x0 ', (0.155,18.65), layer=67, texttype=16))
eespfal_s0.add(gdstk.Label('x0_bar', (0.155,18.145), layer=67, texttype=16))
eespfal_s0.add(gdstk.Label('x3', (0.155,17.645), layer=67, texttype=16))
eespfal_s0.add(gdstk.Label('x3_bar', (0.155,17.145), layer=67, texttype=16))
eespfal_s0.add(gdstk.Label('x1_bar', (0.155,10.395), layer=67, texttype=16))
eespfal_s0.add(gdstk.Label('x2', (0.15,9.9), layer=67, texttype=16))
eespfal_s0.add(gdstk.Label('x2_bar', (0.15,9.395), layer=67, texttype=16))
eespfal_s0.add(gdstk.Label('x1', (0.15,8.8), layer=67, texttype=16))
eespfal_s0.add(gdstk.Label('s0_bar', (32.95,16.8), layer=67, texttype=16))
eespfal_s0.add(gdstk.Label('s0', (32.95,16.2), layer=67, texttype=16))
eespfal_s0.add(gdstk.Label('CLK1', (1,19.3), layer=68, texttype=16))
eespfal_s0.add(gdstk.Label('GND', (0.305,13.4), layer=68, texttype=16))
eespfal_s0.add(gdstk.Label('CLK2', (22.75,19.3), layer=68, texttype=16))
eespfal_s0.add(gdstk.Label('CLK3', (24.845,19.29), layer=68, texttype=16))
eespfal_s0.add(gdstk.Label('Dis3', (24.87,19.915), layer=69, texttype=16))
eespfal_s0.add(gdstk.Label('Dis2', (14.75,19.91), layer=69, texttype=16))
eespfal_s0.add(gdstk.Label('Dis1', (1.655,19.915), layer=69, texttype=16))

lib.write_gds('EESPFAL_s0.gds')
